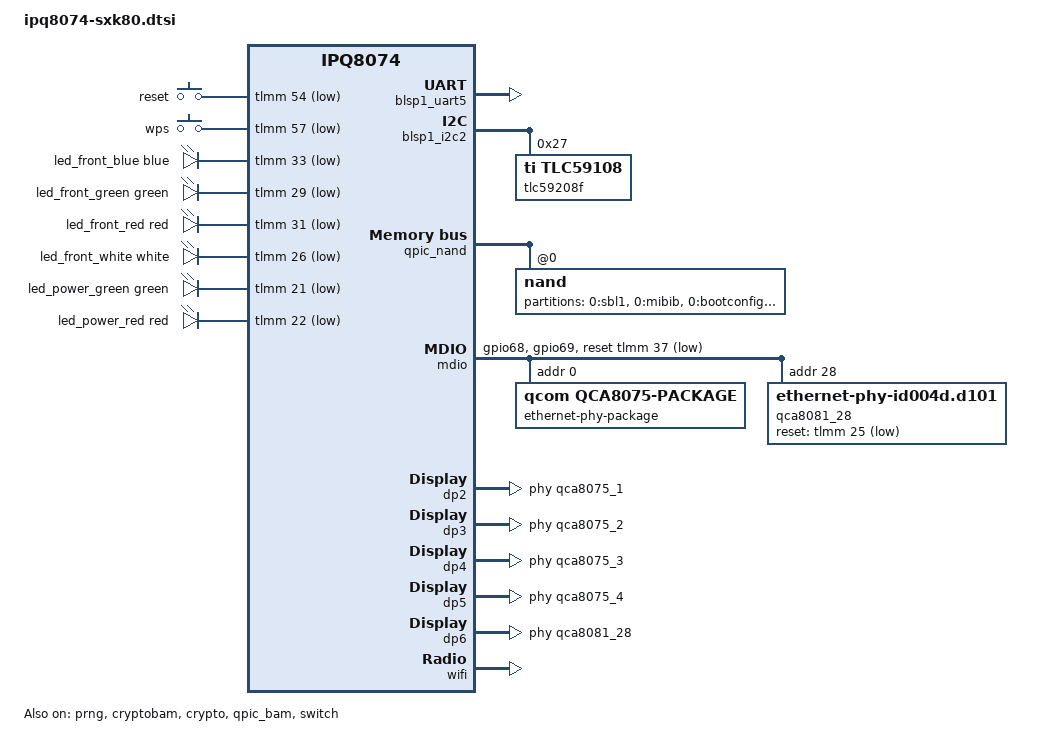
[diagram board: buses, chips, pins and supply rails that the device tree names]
// SPDX-License-Identifier: GPL-2.0-or-later OR MIT
/*
 * Copyright (c) 2021, Flole <flole@flole.de>
 * Copyright (c) 2023, Andrew Smith <gul.code@outlook.com>
 */

/dts-v1/;

#include "ipq8074.dtsi"
#include "ipq8074-ess.dtsi"
#include "ipq8074-nss.dtsi"
#include "ipq8074-hk-cpu.dtsi"
#include <dt-bindings/gpio/gpio.h>
#include <dt-bindings/input/input.h>
#include <dt-bindings/leds/common.h>

/ {
	aliases {
		serial0 = &blsp1_uart5;
		led-boot = &led_front_blue;
		led-failsafe = &led_front_red;
		led-running = &led_front_green;
		led-upgrade = &led_front_white;
		label-mac-device = &dp2;
	};

	chosen {
		stdout-path = "serial0:115200n8";
		bootargs-append = " ubi.mtd=rootfs root=/dev/ubiblock0_0";
	};

	keys {
		compatible = "gpio-keys";

		reset {
			label = "reset";
			gpios = <&tlmm 54 GPIO_ACTIVE_LOW>;
			linux,code = <KEY_RESTART>;
		};

		wps {
			label = "wps";
			gpios = <&tlmm 57 GPIO_ACTIVE_LOW>;
			linux,code = <KEY_WPS_BUTTON>;
		};
	};

	leds {
		compatible = "gpio-leds";

		led_front_blue: front-blue {
			function = LED_FUNCTION_STATUS;
			gpios = <&tlmm 33 GPIO_ACTIVE_LOW>;
			color = <LED_COLOR_ID_BLUE>;
		};

		led_front_green: front-green {
			function = LED_FUNCTION_STATUS;
			gpios = <&tlmm 29 GPIO_ACTIVE_LOW>;
			color = <LED_COLOR_ID_GREEN>;
		};

		led_front_red: front-red {
			function = LED_FUNCTION_STATUS;
			gpios = <&tlmm 31 GPIO_ACTIVE_LOW>;
			color = <LED_COLOR_ID_RED>;
		};

		led_front_white: front-white {
			function = LED_FUNCTION_STATUS;
			gpios = <&tlmm 26 GPIO_ACTIVE_LOW>;
			color = <LED_COLOR_ID_WHITE>;
		};

		led_power_green: power-green {
			function = LED_FUNCTION_POWER;
			gpios = <&tlmm 21 GPIO_ACTIVE_LOW>;
			color = <LED_COLOR_ID_GREEN>;
			default-state = "on";
		};

		led_power_red: power-red {
			function = LED_FUNCTION_POWER;
			gpios = <&tlmm 22 GPIO_ACTIVE_LOW>;
			color = <LED_COLOR_ID_RED>;
			panic-indicator;
		};
	};
};

&tlmm {
	mdio_pins: mdio-pins {
		mdc {
			pins = "gpio68";
			function = "mdc";
			drive-strength = <8>;
			bias-pull-up;
		};

		mdio {
			pins = "gpio69";
			function = "mdio";
			drive-strength = <8>;
			bias-pull-up;
		};
	};

	leds_pins: leds_pinmux {
		led_power_green {
			pins = "gpio21";
			function = "gpio";
			drive-strength = <8>;
			bias-pull-down;
		};

		led_power_red {
			pins = "gpio22";
			function = "gpio";
			drive-strength = <8>;
			bias-pull-down;
		};

		led_white {
			pins = "gpio26";
			function = "gpio";
			drive-strength = <8>;
			bias-pull-down;
		};

		led_green {
			pins = "gpio29";
			function = "gpio";
			drive-strength = <8>;
			bias-pull-down;
		};

		led_red {
			pins = "gpio31";
			function = "gpio";
			drive-strength = <8>;
			bias-pull-down;
		};

		led_blue {
			pins = "gpio33";
			function = "gpio";
			drive-strength = <8>;
			bias-pull-down;
		};
	};
};

&blsp1_uart5 {
	status = "okay";
};

&blsp1_i2c2 {
	pinctrl-0 = <&i2c_0_pins>;
	pinctrl-names = "default";

	status = "okay";
	
	tlc59208f@27 {
		#address-cells = <1>;
		#size-cells = <0>;
		compatible = "ti,tlc59108";
		reg = <0x27>;
		
		led@0 {
			label = "rgb:led0";
			reg = <0>;
			linux,default-trigger = "default-off";
		};

		led@1 {
			label = "rgb:led1";
			reg = <1>;
			linux,default-trigger = "default-off";
		};

		led@2 {
			label = "rgb:led2";
			reg = <2>;
			linux,default-trigger = "default-off";
		};

		led@3 {
			label = "rgb:led3";
			reg = <3>;
			linux,default-trigger = "default-off";
		};
	};
};

&prng {
	status = "okay";
};

&cryptobam {
	status = "okay";
};

&crypto {
	status = "okay";
};

&qpic_bam {
	status = "okay";
};

&qpic_nand {
	status = "okay";

	/*
	 * Bootloader will find the NAND DT node by the compatible and
	 * then "fixup" it by adding the partitions from the SMEM table
	 * using the legacy bindings thus making it impossible for us
	 * to change the partition table or utilize NVMEM for calibration.
	 * So add a dummy partitions node that bootloader will populate
	 * and set it as disabled so the kernel ignores it instead of
	 * printing warnings due to the broken way bootloader adds the
	 * partitions.
	 */
	partitions {
		status = "disabled";
	};

	nand@0 {
		reg = <0>;
		nand-ecc-strength = <4>;
		nand-ecc-step-size = <512>;
		nand-bus-width = <8>;

		partitions {
			compatible = "fixed-partitions";
			#address-cells = <1>;
			#size-cells = <1>;

			partition@0 {
				label = "0:sbl1";
				reg = <0x00 0x100000>;
				read-only;
			};

			partition@100000 {
				label = "0:mibib";
				reg = <0x100000 0x100000>;
				read-only;
			};

			partition@200000 {
				label = "0:bootconfig";
				reg = <0x200000 0x80000>;
				read-only;
			};

			partition@280000 {
				label = "0:bootconfig_1";
				reg = <0x280000 0x80000>;
				read-only;
			};

			partition@300000 {
				label = "0:qsee";
				reg = <0x300000 0x300000>;
				read-only;
			};

			partition@600000 {
				label = "0:qsee_1";
				reg = <0x600000 0x300000>;
				read-only;
			};

			partition@900000 {
				label = "0:devcfg";
				reg = <0x900000 0x80000>;
				read-only;
			};

			partition@980000 {
				label = "0:devcfg_1";
				reg = <0x980000 0x80000>;
				read-only;
			};

			partition@a00000 {
				label = "0:apdp";
				reg = <0xa00000 0x80000>;
				read-only;
			};

			partition@a80000 {
				label = "0:apdp_1";
				reg = <0xa80000 0x80000>;
				read-only;
			};

			partition@b00000 {
				label = "0:rpm";
				reg = <0xb00000 0x80000>;
				read-only;
			};

			partition@b80000 {
				label = "0:rpm_1";
				reg = <0xb80000 0x80000>;
				read-only;
			};

			partition@c00000 {
				label = "0:cdt";
				reg = <0xc00000 0x80000>;
				read-only;
			};

			partition@c80000 {
				label = "0:cdt_1";
				reg = <0xc80000 0x80000>;
				read-only;
			};

			partition@d00000 {
				label = "0:appsblenv";
				reg = <0xd00000 0x80000>;
			};

			partition@d80000 {
				label = "0:appsbl";
				reg = <0xd80000 0x100000>;
				read-only;
			};

			partition@e80000 {
				label = "0:appsbl_1";
				reg = <0xe80000 0x100000>;
				read-only;
			};

			partition@f80000 {
				label = "0:art";
				reg = <0xf80000 0x80000>;
				read-only;
			};

			partition@1000000 {
				label = "0:art.bak";
				reg = <0x1000000 0x80000>;
				read-only;
			};

			partition@1080000 {
				label = "config";
				reg = <0x1080000 0x100000>;
			};

			partition@1180000 {
				label = "boarddata1";
				reg = <0x1180000 0x100000>;

				nvmem-layout {
					compatible = "fixed-layout";
					#address-cells = <1>;
					#size-cells = <1>;

					macaddr_boarddata1_0: macaddr@0 {
						reg = <0x0 0x6>;
					};

					macaddr_boarddata1_6: macaddr@6 {
						reg = <0x6 0x6>;
					};
				};
			};

			partition@1280000 {
				label = "boarddata2";
				reg = <0x1280000 0x100000>;
			};

			partition@1380000 {
				label = "pot";
				reg = <0x1380000 0x100000>;
				read-only;
			};

			partition@1480000 {
				label = "dnidata";
				reg = <0x1480000 0x500000>;
				read-only;
			};

			partition@1980000 {
				label = "kernel";
				reg = <0x1980000 0x620000>;
			};

			partition@1fa0000 {
				label = "rootfs";
				reg = <0x1fa0000 0x66e0000>;
			};

			partition@8680000 {
				label = "kernel2";
				reg = <0x8680000 0x620000>;
				read-only;
			};

			partition@8ca0000 {
				label = "rootfs2";
				reg = <0x8ca0000 0x66e0000>;
				read-only;
			};
		};
	};
};

&mdio {
	status = "okay";

	pinctrl-0 = <&mdio_pins>;
	pinctrl-names = "default";
	reset-gpios = <&tlmm 37 GPIO_ACTIVE_LOW>;

	ethernet-phy-package@0 {
		#address-cells = <1>;
		#size-cells = <0>;
		reg = <0>;

		compatible = "qcom,qca8075-package";

		qca8075_1: ethernet-phy@1 {
			compatible = "ethernet-phy-ieee802.3-c22";
			reg = <1>;
		};

		qca8075_2: ethernet-phy@2 {
			compatible = "ethernet-phy-ieee802.3-c22";
			reg = <2>;
		};

		qca8075_3: ethernet-phy@3 {
			compatible = "ethernet-phy-ieee802.3-c22";
			reg = <3>;
		};

		qca8075_4: ethernet-phy@4 {
			compatible = "ethernet-phy-ieee802.3-c22";
			reg = <4>;
		};
	};

	qca8081_28: ethernet-phy@28 {
		compatible = "ethernet-phy-id004d.d101";
		reg = <28>;
		reset-deassert-us = <10000>;
		reset-gpios = <&tlmm 25 GPIO_ACTIVE_LOW>;
	};
};

&switch {
	status = "okay";

	switch_lan_bmp = <(ESS_PORT2 | ESS_PORT3 | ESS_PORT4 | ESS_PORT5)>; /* lan port bitmap */
	switch_wan_bmp = <ESS_PORT6>; /* wan port bitmap */
	switch_mac_mode = <MAC_MODE_PSGMII>; /* mac mode for uniphy instance0*/
	switch_mac_mode2 = <MAC_MODE_SGMII_PLUS>; /* mac mode for uniphy instance2*/

	qcom,port_phyinfo {
		port@2 {
			port_id = <2>;
			phy_address = <1>;
		};
		port@3 {
			port_id = <3>;
			phy_address = <2>;
		};
		port@4 {
			port_id = <4>;
			phy_address = <3>;
		};
		port@5 {
			port_id = <5>;
			phy_address = <4>;
		};
		port@6 {
			port_id = <6>;
			phy_address = <28>;
			port_mac_sel = "QGMAC_PORT";
		};
	};
};

&edma {
	status = "okay";
};

&dp2 {
	status = "okay";
	phy-handle = <&qca8075_1>;
	label = "lan2";
	nvmem-cells = <&macaddr_boarddata1_0>;
	nvmem-cell-names = "mac-address";
};

&dp3 {
	status = "okay";
	phy-handle = <&qca8075_2>;
	label = "lan3";
	nvmem-cells = <&macaddr_boarddata1_0>;
	nvmem-cell-names = "mac-address";
};

&dp4 {
	status = "okay";
	phy-handle = <&qca8075_3>;
	label = "lan4";
	nvmem-cells = <&macaddr_boarddata1_0>;
	nvmem-cell-names = "mac-address";
};

&dp5 {
	status = "okay";
	phy-handle = <&qca8075_4>;
	label = "lan5";
	nvmem-cells = <&macaddr_boarddata1_0>;
	nvmem-cell-names = "mac-address";
};

&dp6 {
	status = "okay";
	phy-handle = <&qca8081_28>;
	label = "wan";
	nvmem-cells = <&macaddr_boarddata1_6>;
	nvmem-cell-names = "mac-address";
};

&wifi {
	status = "okay";

	qcom,ath11k-calibration-variant = "Netgear-SXK80";
};
